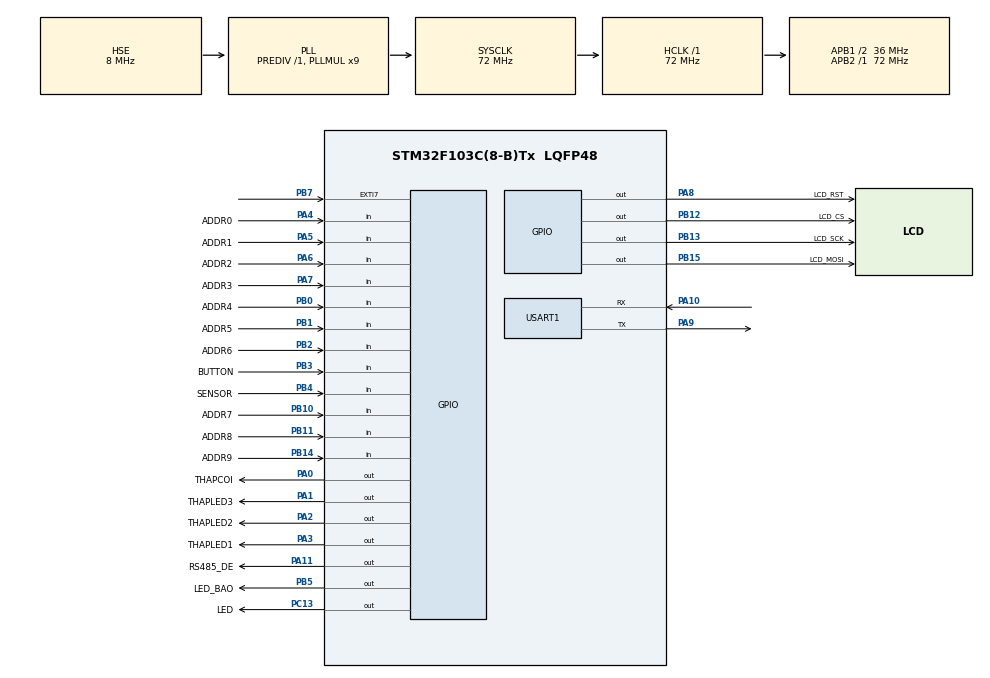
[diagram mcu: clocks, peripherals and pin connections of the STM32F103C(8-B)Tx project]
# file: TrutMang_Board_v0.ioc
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Mcu.Family=STM32F1
Mcu.Name=STM32F103C(8-B)Tx
Mcu.Package=LQFP48
NVIC.PriorityGroup=NVIC_PRIORITYGROUP_4
NVIC.TIM1_UP_IRQn=true\:0\:0\:false\:false\:true\:true\:true\:true
NVIC.TIM2_IRQn=true\:0\:0\:false\:false\:true\:true\:true\:true
NVIC.USART1_IRQn=true\:0\:0\:false\:false\:true\:true\:true\:true
PA0-WKUP.GPIO_Label=THAPCOI
PA0-WKUP.Signal=GPIO_Output
PA1.GPIO_Label=THAPLED3
PA1.Signal=GPIO_Output
PA10.Mode=Asynchronous
PA10.Signal=USART1_RX
PA11.GPIO_Label=RS485_DE
PA11.Signal=GPIO_Output
PA13.Mode=Serial_Wire
PA13.Signal=SYS_JTMS-SWDIO
PA14.Mode=Serial_Wire
PA14.Signal=SYS_JTCK-SWCLK
PA2.GPIO_Label=THAPLED2
PA2.Signal=GPIO_Output
PA3.GPIO_Label=THAPLED1
PA3.Signal=GPIO_Output
PA4.GPIO_Label=ADDR0
PA4.GPIO_PuPd=GPIO_PULLUP
PA4.Signal=GPIO_Input
PA5.GPIO_Label=ADDR1
PA5.GPIO_PuPd=GPIO_PULLUP
PA5.Signal=GPIO_Input
PA6.GPIO_Label=ADDR2
PA6.GPIO_PuPd=GPIO_PULLUP
PA6.Signal=GPIO_Input
PA7.GPIO_Label=ADDR3
PA7.GPIO_PuPd=GPIO_PULLUP
PA7.Signal=GPIO_Input
PA8.GPIO_Label=LCD_RST
PA8.Signal=GPIO_Output
PA9.Mode=Asynchronous
PA9.Signal=USART1_TX
PB0.GPIO_Label=ADDR4
PB0.GPIO_PuPd=GPIO_PULLUP
PB0.Signal=GPIO_Input
PB1.GPIO_Label=ADDR5
PB1.GPIO_PuPd=GPIO_PULLUP
PB1.Signal=GPIO_Input
PB10.GPIO_Label=ADDR7
PB10.GPIO_PuPd=GPIO_PULLUP
PB10.Signal=GPIO_Input
PB11.GPIO_Label=ADDR8
PB11.GPIO_PuPd=GPIO_PULLUP
PB11.Signal=GPIO_Input
PB12.GPIO_Label=LCD_CS
PB12.Signal=GPIO_Output
PB13.GPIO_Label=LCD_SCK
PB13.Signal=GPIO_Output
PB14.GPIO_Label=ADDR9
PB14.GPIO_PuPd=GPIO_PULLUP
PB14.Signal=GPIO_Input
PB15.GPIO_Label=LCD_MOSI
PB15.Signal=GPIO_Output
PB2.GPIO_Label=ADDR6
PB2.GPIO_PuPd=GPIO_PULLUP
PB2.Signal=GPIO_Input
PB3.GPIO_Label=BUTTON
PB3.GPIO_PuPd=GPIO_PULLUP
PB3.Signal=GPIO_Input
PB4.GPIO_Label=SENSOR
PB4.Signal=GPIO_Input
PB5.GPIO_Label=LED_BAO
PB5.Signal=GPIO_Output
PB7.Signal=GPXTI7
PC13-TAMPER-RTC.GPIO_Label=LED
PC13-TAMPER-RTC.Signal=GPIO_Output
PD0-OSC_IN.Mode=HSE-External-Oscillator
PD0-OSC_IN.Signal=RCC_OSC_IN
PD1-OSC_OUT.Mode=HSE-External-Oscillator
PD1-OSC_OUT.Signal=RCC_OSC_OUT
ProjectManager.HeapSize=0x200
ProjectManager.StackSize=0x400
ProjectManager.TargetToolchain=MDK-ARM V5.32
RCC.AHBFreq_Value=72000000
RCC.APB1CLKDivider=RCC_HCLK_DIV2
RCC.APB1Freq_Value=36000000
RCC.APB1TimFreq_Value=72000000
RCC.APB2Freq_Value=72000000
RCC.APB2TimFreq_Value=72000000
RCC.HCLKFreq_Value=72000000
RCC.PLLMUL=RCC_PLL_MUL9
RCC.PLLSourceVirtual=RCC_PLLSOURCE_HSE
RCC.SYSCLKFreq_VALUE=72000000
RCC.SYSCLKSource=RCC_SYSCLKSOURCE_PLLCLK
RCC.USBFreq_Value=72000000
TIM1.Prescaler=71
TIM2.Period=999
TIM2.Prescaler=71
USART1.VirtualMode=VM_ASYNC
VP_TIM1_VS_ClockSourceINT.Mode=Internal
VP_TIM2_VS_ClockSourceINT.Mode=Internal
board=custom

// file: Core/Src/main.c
/* USER CODE BEGIN Header */
/**
  ******************************************************************************
  * @file           : main.c
  * @brief          : Main program body
  ******************************************************************************
  * @attention
  *
  * Copyright (c) 2024 STMicroelectronics.
  * All rights reserved.
  *
  * This software is licensed under terms that can be found in the LICENSE file
  * in the root directory of this software component.
  * If no LICENSE file comes with this software, it is provided AS-IS.
  *
  ******************************************************************************
  */
/* USER CODE END Header */
#include "main.h"

/* USER CODE BEGIN Includes */
#include "st7920.h"
#include <string.h>
#include <stdio.h>
#include <stdlib.h>
#include <stdbool.h>

#include "rs485.h"
#include "user.h"

/* USER CODE END Includes */

TIM_HandleTypeDef htim1;
TIM_HandleTypeDef htim2;

UART_HandleTypeDef huart1;

/* USER CODE BEGIN PV */
	uint16_t cnt_flag_led = 0;
	uint32_t tim_tick_1ms = 0;

	char ROW0[16], ROW1[16], ROW2[16], ROW3[16];

	extern rs485_t vRS485;
	extern const unsigned char viettel_post[];

	uint16_t cnt_flag_display_lcd = 0;
	uint8_t flag_send = 0;

	uint16_t cnt_flag_autosend = 0;

	uint8_t num_id = 1;

	uint16_t num_irq = 0;

	uint8_t hour = 0;
	uint8_t minute = 0;
	uint32_t num_response_tx = 0, num_request_rx = 0, miss_mess = 0;
	uint16_t num_rx = 0;

	bool MASTER_OR_SLAVE = MASTER;

	uint16_t ID_BOARD_ARRAY[NUMBER_BOARD];
	uint16_t ID_need_send = 1;

	uint16_t num_packet = 0;
//	uint8_t num_packet_H = 0, num_packet_L = 0;

	uint8_t isFull = 0;
	uint8_t flag_1ms = 0;
	uint8_t Status_Sensor = 0;
	uint32_t __s_sensor = 0;
	uint16_t cnt_sensor_on = 0;

	uint16_t cnt_thapled = 0;

	uint16_t cnt_flag_flashLed = 0;
	uint8_t flag_flashLed = 0;

/* USER CODE END PV */

void SystemClock_Config(void);
static void MX_GPIO_Init(void);
static void MX_TIM1_Init(void);
static void MX_USART1_UART_Init(void);
static void MX_TIM2_Init(void);

/* USER CODE BEGIN 0 */
	void OnMaster(void);
	void OnSlave(void);

	uint32_t getMicroSecond(void){
		return tim_tick_1ms*1000 + __HAL_TIM_GetCounter(&htim2);
	}

	void Flash_Led(void){
		if(flag_flashLed){
			HAL_GPIO_WritePin(LED_GPIO_Port, LED_Pin, GPIO_PIN_SET);
			if(++cnt_flag_flashLed >= 20){
				HAL_GPIO_WritePin(LED_GPIO_Port, LED_Pin, GPIO_PIN_RESET);
				cnt_flag_flashLed = 0;
				flag_flashLed = 0;
			}
		}
	}

	/*_____________________________________________________________*/
	void HAL_UART_RxCpltCallback(UART_HandleTypeDef *huart) {
			if(huart->Instance == USART1)
			{
				RS485_Read(&vRS485);
				HAL_UART_Receive_IT(&huart1, &vRS485.rxByte, 1);
				num_irq++;
			}
		}

	/*_____________________________________________________________*/
		void HAL_TIM_PeriodElapsedCallback(TIM_HandleTypeDef *htim){
			UNUSED(htim);

			if (htim->Instance == htim2.Instance){ 	// every 1ms
				Flash_Led();
				cnt_flag_led++;
				cnt_flag_autosend++;
				cnt_flag_display_lcd++;
				flag_1ms++;
			}

		}

/* USER CODE END 0 */

int main(void)
{

  /* MCU Configuration--------------------------------------------------------*/

  /* Reset of all peripherals, Initializes the Flash interface and the Systick. */
  HAL_Init();

  /* Configure the system clock */
  SystemClock_Config();

  /* Initialize all configured peripherals */
  MX_GPIO_Init();
  MX_TIM1_Init();
  MX_USART1_UART_Init();
  MX_TIM2_Init();
  /* USER CODE BEGIN 2 */
	HAL_GPIO_WritePin(LED_GPIO_Port, LED_Pin, GPIO_PIN_SET);
	RS485_Init(&vRS485, &huart1);

//	for(uint8_t i=1; i<NUMBER_BOARD; i++){
//		ID_BOARD_ARRAY[i] = 100*i;
//	}

	HAL_TIM_Base_Start_IT(&htim1);
	HAL_TIM_Base_Start_IT(&htim2);

	memset(ROW0, 0x00, 16);
	memset(ROW1, 0x00, 16);
	memset(ROW2, 0x00, 16);
	memset(ROW3, 0x00, 16);

	ST7920_Init();

	ST7920_GraphicMode(1);
	ST7920_DrawBitmap(viettel_post);

	HAL_Delay(3000);

	ST7920_GraphicMode(0);
	ST7920_Clear();

	sprintf(ROW0, "XIN CHAO");
	sprintf(ROW1, "MACH	MANG");
	sprintf(ROW2, "ID: %d", vRS485.ID_Board);
	sprintf(ROW3, "VIETTEL POST");

	ST7920_SendString(0, 0, ROW0);
	ST7920_SendString(1, 0, ROW1);
	ST7920_SendString(2, 0, ROW2);
	ST7920_SendString(3, 0, ROW3);

	HAL_UART_Receive_IT(&huart1, &vRS485.rxByte, 1);
	HAL_GPIO_WritePin(RS485_DE_GPIO_Port, RS485_DE_Pin, GPIO_PIN_RESET);
	HAL_GPIO_WritePin(LED_GPIO_Port, LED_Pin, GPIO_PIN_RESET);
  /* USER CODE END 2 */

  /* Infinite loop */
  while (1)
  {

    /* USER CODE BEGIN 3 */
		//--------------------------------------------------------------------
		if(vRS485.RxFlag == 1){
			HAL_GPIO_WritePin(RS485_DE_GPIO_Port, RS485_DE_Pin, GPIO_PIN_SET);
			flag_flashLed = 1;
			/*Handle rxBuff here*/
			num_request_rx++;

//			vRS485.txBuff[0] = vRS485.header;
//			vRS485.txBuff[1] = vRS485.ID_Byte_H;
//			vRS485.txBuff[2] = vRS485.ID_Byte_L;
//			vRS485.txBuff[3] = 0xBB;
//
//			vRS485.txBuff[4] = isFull;
//
//			vRS485.txBuff[5] = (num_packet >> 8) & 0xFF;
//			vRS485.txBuff[6] = num_packet & 0xFF;
//
//			for(uint8_t i=5; i<SIZE_RS485-1; i++){
//				vRS485.txBuff[i] = 0xFF;
//			}
//			vRS485.txBuff[SIZE_RS485-1] = vRS485.ender;

			for(uint8_t i=0; i<SIZE_RS485; i++){
				vRS485.txBuff[i]= vRS485.rxBuff[i];
			}

			vRS485.TxFlag = 1;
			//HAL_GPIO_WritePin(RS485_DE_GPIO_Port, RS485_DE_Pin, GPIO_PIN_RESET);

			vRS485.RxFlag = 0;
			vRS485.STATE = USART_WAIT;
		}
		//--------------------------------------------------------------------
		if(vRS485.TxFlag == 1){
				if(RS485_SendData(&vRS485, USART1, 2000)){
					num_response_tx++;
					HAL_GPIO_WritePin(RS485_DE_GPIO_Port, RS485_DE_Pin, GPIO_PIN_RESET);
				}
		}
		//--------------------------------------------------------------------

		if(cnt_flag_display_lcd >= 1000){
			cnt_flag_display_lcd = 0;

			//ST7920_GraphicMode(0);
			//ST7920_Clear();

			memset(ROW0, ' ', 16);
			memset(ROW1, ' ', 16);
			memset(ROW2, ' ', 16);
			memset(ROW3, ' ', 16);

			ST7920_SendString(0, 0, ROW0);
			ST7920_SendString(1, 0, ROW1);
			ST7920_SendString(2, 0, ROW2);
			ST7920_SendString(3, 0, ROW3);

			sprintf(ROW0, "ID Slave: %d", vRS485.ID_Board);
			sprintf(ROW1, "So luong: %d ", num_packet);
			//sprintf(ROW1, "Rx: %d ", num_request_rx);
			if(isFull == 1){
				sprintf(ROW2, "Mang Day");
				sprintf(ROW3, "XXXXXXXXXXXXXXXX");
			}
			else{
				sprintf(ROW2, "Mang Chua Day");
			}

			ST7920_SendString(0, 0, ROW0);
			ST7920_SendString(1, 0, ROW1);
			ST7920_SendString(2, 0, ROW2);
			ST7920_SendString(3, 0, ROW3);

		}
	//--------------------------------------------------------------------
		if(cnt_flag_led >= 100){
			cnt_flag_led = 0;
			//HAL_GPIO_TogglePin(LED_GPIO_Port, LED_Pin);
		}
	//--------------------------------------------------------------------
		Status_Sensor = HAL_GPIO_ReadPin(SENSOR_GPIO_Port, SENSOR_Pin);
		if(flag_1ms == 1)
		{
			if(Status_Sensor == 1)
			{
				if(cnt_sensor_on == 2000)
				{
					isFull = 1;
				}
				else{
					cnt_sensor_on++;
					if(cnt_sensor_on == 2)
							num_packet++;
				}
			}
			else
			{
				cnt_sensor_on = 0;
				isFull = 0;
			}

			flag_1ms = 0;
		}
	//--------------------------------------------------------------------
		if(isFull)
		{
			HAL_GPIO_WritePin(LED_BAO_GPIO_Port,LED_BAO_Pin,GPIO_PIN_SET);
//			HAL_GPIO_WritePin(THAPCOI_GPIO_Port,THAPCOI_Pin,GPIO_PIN_SET);
			if(cnt_thapled >= 500){
				HAL_GPIO_TogglePin(THAPLED1_GPIO_Port,THAPLED1_Pin);
				HAL_GPIO_TogglePin(THAPLED2_GPIO_Port,THAPLED2_Pin);
				HAL_GPIO_TogglePin(THAPLED3_GPIO_Port,THAPLED3_Pin);
				cnt_thapled = 0;
			}
		}
		else
		{
			HAL_GPIO_WritePin(LED_BAO_GPIO_Port,LED_BAO_Pin,GPIO_PIN_RESET);
//			HAL_GPIO_WritePin(THAPCOI_GPIO_Port,THAPCOI_Pin,GPIO_PIN_RESET);
			HAL_GPIO_WritePin(THAPLED1_GPIO_Port,THAPLED1_Pin,GPIO_PIN_RESET);
			HAL_GPIO_WritePin(THAPLED2_GPIO_Port,THAPLED2_Pin,GPIO_PIN_RESET);
			HAL_GPIO_WritePin(THAPLED3_GPIO_Port,THAPLED3_Pin,GPIO_PIN_RESET);
		}

	//--------------------------------------------------------------------

	//--------------------------------------------------------------------
  }
  /* USER CODE END 3 */
}

void SystemClock_Config(void)
{
  RCC_OscInitTypeDef RCC_OscInitStruct = {0};
  RCC_ClkInitTypeDef RCC_ClkInitStruct = {0};

  /** Initializes the RCC Oscillators according to the specified parameters
  * in the RCC_OscInitTypeDef structure.
  */
  RCC_OscInitStruct.OscillatorType = RCC_OSCILLATORTYPE_HSE;
  RCC_OscInitStruct.HSEState = RCC_HSE_ON;
  RCC_OscInitStruct.HSEPredivValue = RCC_HSE_PREDIV_DIV1;
  RCC_OscInitStruct.HSIState = RCC_HSI_ON;
  RCC_OscInitStruct.PLL.PLLState = RCC_PLL_ON;
  RCC_OscInitStruct.PLL.PLLSource = RCC_PLLSOURCE_HSE;
  RCC_OscInitStruct.PLL.PLLMUL = RCC_PLL_MUL9;
  if (HAL_RCC_OscConfig(&RCC_OscInitStruct) != HAL_OK)
  {
    Error_Handler();
  }

  /** Initializes the CPU, AHB and APB buses clocks
  */
  RCC_ClkInitStruct.ClockType = RCC_CLOCKTYPE_HCLK|RCC_CLOCKTYPE_SYSCLK
                              |RCC_CLOCKTYPE_PCLK1|RCC_CLOCKTYPE_PCLK2;
  RCC_ClkInitStruct.SYSCLKSource = RCC_SYSCLKSOURCE_PLLCLK;
  RCC_ClkInitStruct.AHBCLKDivider = RCC_SYSCLK_DIV1;
  RCC_ClkInitStruct.APB1CLKDivider = RCC_HCLK_DIV2;
  RCC_ClkInitStruct.APB2CLKDivider = RCC_HCLK_DIV1;

  if (HAL_RCC_ClockConfig(&RCC_ClkInitStruct, FLASH_LATENCY_2) != HAL_OK)
  {
    Error_Handler();
  }
}

static void MX_TIM1_Init(void)
{

  TIM_ClockConfigTypeDef sClockSourceConfig = {0};
  TIM_MasterConfigTypeDef sMasterConfig = {0};

  htim1.Instance = TIM1;
  htim1.Init.Prescaler = 71;
  htim1.Init.CounterMode = TIM_COUNTERMODE_UP;
  htim1.Init.Period = 65535;
  htim1.Init.ClockDivision = TIM_CLOCKDIVISION_DIV1;
  htim1.Init.RepetitionCounter = 0;
  htim1.Init.AutoReloadPreload = TIM_AUTORELOAD_PRELOAD_DISABLE;
  if (HAL_TIM_Base_Init(&htim1) != HAL_OK)
  {
    Error_Handler();
  }
  sClockSourceConfig.ClockSource = TIM_CLOCKSOURCE_INTERNAL;
  if (HAL_TIM_ConfigClockSource(&htim1, &sClockSourceConfig) != HAL_OK)
  {
    Error_Handler();
  }
  sMasterConfig.MasterOutputTrigger = TIM_TRGO_RESET;
  sMasterConfig.MasterSlaveMode = TIM_MASTERSLAVEMODE_DISABLE;
  if (HAL_TIMEx_MasterConfigSynchronization(&htim1, &sMasterConfig) != HAL_OK)
  {
    Error_Handler();
  }

}

static void MX_TIM2_Init(void)
{

  TIM_ClockConfigTypeDef sClockSourceConfig = {0};
  TIM_MasterConfigTypeDef sMasterConfig = {0};

  htim2.Instance = TIM2;
  htim2.Init.Prescaler = 71;
  htim2.Init.CounterMode = TIM_COUNTERMODE_UP;
  htim2.Init.Period = 999;
  htim2.Init.ClockDivision = TIM_CLOCKDIVISION_DIV1;
  htim2.Init.AutoReloadPreload = TIM_AUTORELOAD_PRELOAD_DISABLE;
  if (HAL_TIM_Base_Init(&htim2) != HAL_OK)
  {
    Error_Handler();
  }
  sClockSourceConfig.ClockSource = TIM_CLOCKSOURCE_INTERNAL;
  if (HAL_TIM_ConfigClockSource(&htim2, &sClockSourceConfig) != HAL_OK)
  {
    Error_Handler();
  }
  sMasterConfig.MasterOutputTrigger = TIM_TRGO_RESET;
  sMasterConfig.MasterSlaveMode = TIM_MASTERSLAVEMODE_DISABLE;
  if (HAL_TIMEx_MasterConfigSynchronization(&htim2, &sMasterConfig) != HAL_OK)
  {
    Error_Handler();
  }

}

static void MX_USART1_UART_Init(void)
{

  huart1.Instance = USART1;
  huart1.Init.BaudRate = 9600;
  huart1.Init.WordLength = UART_WORDLENGTH_8B;
  huart1.Init.StopBits = UART_STOPBITS_1;
  huart1.Init.Parity = UART_PARITY_NONE;
  huart1.Init.Mode = UART_MODE_TX_RX;
  huart1.Init.HwFlowCtl = UART_HWCONTROL_NONE;
  huart1.Init.OverSampling = UART_OVERSAMPLING_16;
  if (HAL_UART_Init(&huart1) != HAL_OK)
  {
    Error_Handler();
  }

}

static void MX_GPIO_Init(void)
{
  GPIO_InitTypeDef GPIO_InitStruct = {0};

  /* GPIO Ports Clock Enable */
  __HAL_RCC_GPIOC_CLK_ENABLE();
  __HAL_RCC_GPIOD_CLK_ENABLE();
  __HAL_RCC_GPIOA_CLK_ENABLE();
  __HAL_RCC_GPIOB_CLK_ENABLE();

  /*Configure GPIO pin Output Level */
  HAL_GPIO_WritePin(LED_GPIO_Port, LED_Pin, GPIO_PIN_RESET);

  /*Configure GPIO pin Output Level */
  HAL_GPIO_WritePin(GPIOA, THAPCOI_Pin|THAPLED3_Pin|THAPLED2_Pin|THAPLED1_Pin
                          |LCD_RST_Pin|RS485_DE_Pin, GPIO_PIN_RESET);

  /*Configure GPIO pin Output Level */
  HAL_GPIO_WritePin(GPIOB, LCD_CS_Pin|LCD_SCK_Pin|LCD_MOSI_Pin|LED_BAO_Pin, GPIO_PIN_RESET);

  /*Configure GPIO pin : LED_Pin */
  GPIO_InitStruct.Pin = LED_Pin;
  GPIO_InitStruct.Mode = GPIO_MODE_OUTPUT_PP;
  GPIO_InitStruct.Pull = GPIO_NOPULL;
  GPIO_InitStruct.Speed = GPIO_SPEED_FREQ_LOW;
  HAL_GPIO_Init(LED_GPIO_Port, &GPIO_InitStruct);

  /*Configure GPIO pins : THAPCOI_Pin THAPLED3_Pin THAPLED2_Pin THAPLED1_Pin
                           LCD_RST_Pin RS485_DE_Pin */
  GPIO_InitStruct.Pin = THAPCOI_Pin|THAPLED3_Pin|THAPLED2_Pin|THAPLED1_Pin
                          |LCD_RST_Pin|RS485_DE_Pin;
  GPIO_InitStruct.Mode = GPIO_MODE_OUTPUT_PP;
  GPIO_InitStruct.Pull = GPIO_NOPULL;
  GPIO_InitStruct.Speed = GPIO_SPEED_FREQ_LOW;
  HAL_GPIO_Init(GPIOA, &GPIO_InitStruct);

  /*Configure GPIO pins : ADDR0_Pin ADDR1_Pin ADDR2_Pin ADDR3_Pin */
  GPIO_InitStruct.Pin = ADDR0_Pin|ADDR1_Pin|ADDR2_Pin|ADDR3_Pin;
  GPIO_InitStruct.Mode = GPIO_MODE_INPUT;
  GPIO_InitStruct.Pull = GPIO_PULLUP;
  HAL_GPIO_Init(GPIOA, &GPIO_InitStruct);

  /*Configure GPIO pins : ADDR4_Pin ADDR5_Pin ADDR6_Pin ADDR7_Pin
                           ADDR8_Pin ADDR9_Pin BUTTON_Pin */
  GPIO_InitStruct.Pin = ADDR4_Pin|ADDR5_Pin|ADDR6_Pin|ADDR7_Pin
                          |ADDR8_Pin|ADDR9_Pin|BUTTON_Pin;
  GPIO_InitStruct.Mode = GPIO_MODE_INPUT;
  GPIO_InitStruct.Pull = GPIO_PULLUP;
  HAL_GPIO_Init(GPIOB, &GPIO_InitStruct);

  /*Configure GPIO pins : LCD_CS_Pin LCD_SCK_Pin LCD_MOSI_Pin LED_BAO_Pin */
  GPIO_InitStruct.Pin = LCD_CS_Pin|LCD_SCK_Pin|LCD_MOSI_Pin|LED_BAO_Pin;
  GPIO_InitStruct.Mode = GPIO_MODE_OUTPUT_PP;
  GPIO_InitStruct.Pull = GPIO_NOPULL;
  GPIO_InitStruct.Speed = GPIO_SPEED_FREQ_LOW;
  HAL_GPIO_Init(GPIOB, &GPIO_InitStruct);

  /*Configure GPIO pin : SENSOR_Pin */
  GPIO_InitStruct.Pin = SENSOR_Pin;
  GPIO_InitStruct.Mode = GPIO_MODE_INPUT;
  GPIO_InitStruct.Pull = GPIO_NOPULL;
  HAL_GPIO_Init(SENSOR_GPIO_Port, &GPIO_InitStruct);

  /*Configure GPIO pin : PB7 */
  GPIO_InitStruct.Pin = GPIO_PIN_7;
  GPIO_InitStruct.Mode = GPIO_MODE_IT_RISING;
  GPIO_InitStruct.Pull = GPIO_NOPULL;
  HAL_GPIO_Init(GPIOB, &GPIO_InitStruct);

}

/* USER CODE BEGIN 4 */

/*______________________________________________________________________________*/

	void OnMaster(void){
		if(flag_send == 1){

		}

	}

/*______________________________________________________________________________*/

	void OnSlave(void){

	}

/* USER CODE END 4 */

void Error_Handler(void)
{
  __disable_irq();
  while (1)
  {
  }
}
